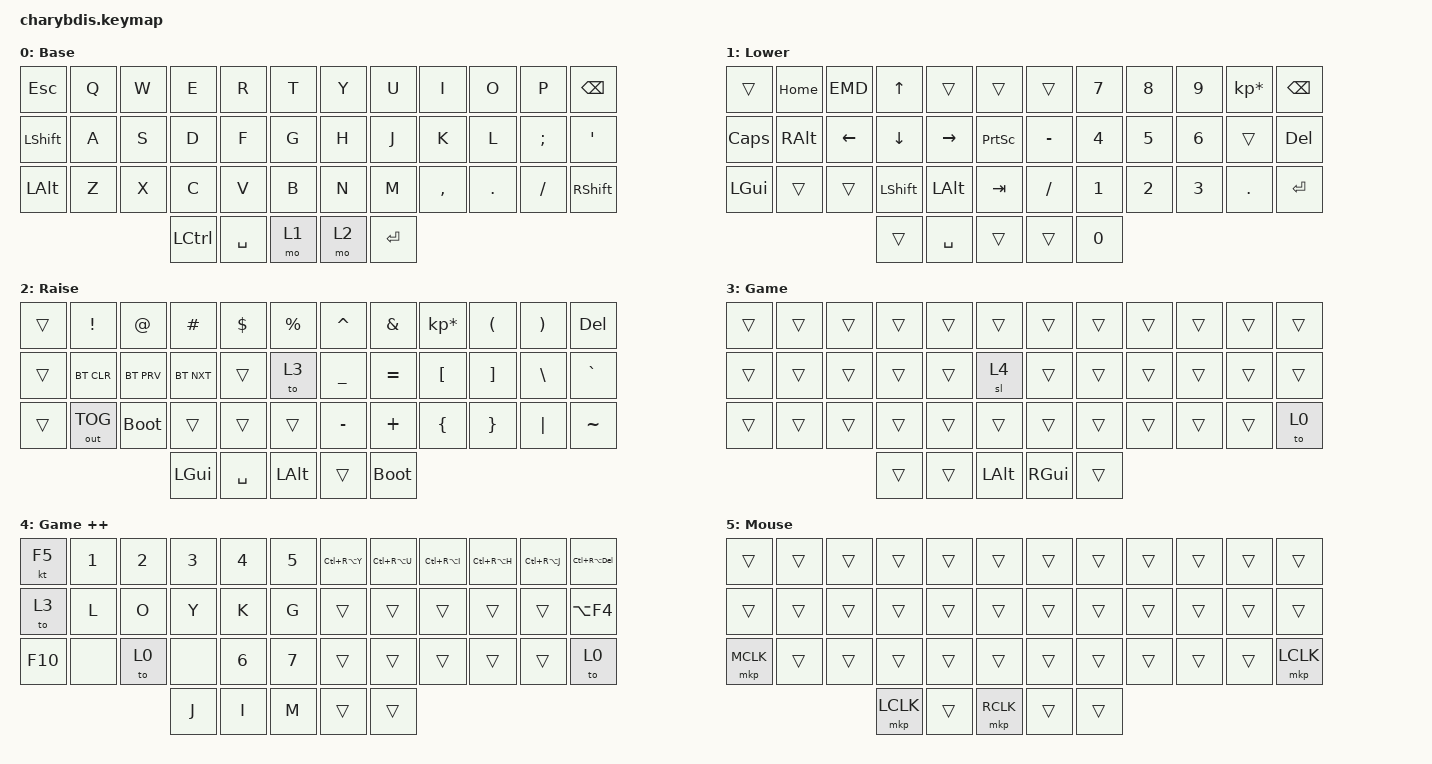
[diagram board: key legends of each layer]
#include <behaviors.dtsi>
#include <dt-bindings/zmk/mouse.h>
#include <dt-bindings/zmk/keys.h>
#include <dt-bindings/zmk/bt.h>
#include <dt-bindings/zmk/outputs.h>
#include <dt-bindings/zmk/keys.h>
#include <behaviors/mouse_keys.dtsi>

&lt {
    tapping-term-ms = <240>;
    flavor = "balanced";
    quick-tap-ms = <150>;
};

/ {
    keymap {
        compatible = "zmk,keymap";

        Base {
            label = "Base";
            bindings = <
  &kp ESC  &kp Q  &kp W      &kp E      &kp R  &kp T    &kp Y    &kp U      &kp I    &kp O     &kp P    &kp BSPC
  &kp LSHFT  &kp A  &kp S      &kp D      &kp F  &kp G    &kp H    &kp J      &kp K    &kp L  &kp SEMI    &kp APOS
&kp LEFT_ALT  &kp Z  &kp X      &kp C      &kp V  &kp B    &kp N    &kp M  &kp COMMA  &kp DOT  &kp FSLH  &kp RSHIFT
                         &kp LCTRL  &kp SPACE  &mo 1    &mo 2  &kp RET
            >;
        };

        Lower {
            label = "Lower";
            bindings = <
      &trans    &kp HOME    &kp EMD     &kp UP     &trans    &trans       &trans   &kp N7  &kp N8   &kp N9  &kp KP_MULTIPLY   &kp BSPC
      &kp CAPSLOCK  &kp RIGHT_ALT  &kp LEFT  &kp DOWN     &kp RIGHT    &kp PRINTSCREEN       &kp MINUS   &kp N4  &kp N5    &kp N6    &trans  &kp DELETE
&kp LGUI    &trans    &trans     &kp LSHFT  &kp LEFT_ALT  &kp TAB       &kp SLASH   &kp N1  &kp N2  &kp N3    &kp DOT  &kp RET
                                   &trans  &kp SPACE    &trans    &trans  &kp N0
            >;
        };

        Raise {
            label = "Raise";
            bindings = <
&trans      &kp EXCL       &kp AT    &kp HASH   &kp DLLR     &kp PRCNT    &kp CARET   &kp AMPS  &kp KP_MULTIPLY  &kp LPAR  &kp RPAR    &kp DEL
&trans    &bt BT_CLR   &bt BT_PRV  &bt BT_NXT     &trans         &to 3    &kp UNDER  &kp EQUAL         &kp LBKT  &kp RBKT  &kp BSLH  &kp GRAVE
&trans  &out OUT_TOG  &bootloader      &trans     &trans        &trans    &kp MINUS   &kp PLUS         &kp LBRC  &kp RBRC  &kp PIPE  &kp TILDE
                                     &kp LGUI  &kp SPACE  &kp LEFT_ALT       &trans    &bootloader
            >;
        };

        Game {
            label = "Game";
            bindings = <
&trans  &trans  &trans  &trans  &trans        &trans      &trans  &trans  &trans  &trans  &trans  &trans
&trans  &trans  &trans  &trans  &trans         &sl 4      &trans  &trans  &trans  &trans  &trans  &trans
&trans  &trans  &trans  &trans  &trans        &trans      &trans  &trans  &trans  &trans  &trans   &to 0
                        &trans  &trans  &kp LEFT_ALT    &kp RGUI  &trans
            >;
        };

        Game_++ {
            label = "Game ++";
            bindings = <
 &kt F5  &kp NUMBER_1  &kp NUMBER_2  &kp NUMBER_3  &kp NUMBER_4  &kp NUMBER_5    &kp LC(RA(Y))  &kp LC(RA(U))  &kp LC(RA(I))  &kp LC(RA(H))  &kp LC(RA(J))  &kp LC(RA(DEL))
  &to 3         &kp L         &kp O         &kp Y         &kp K         &kp G           &trans         &trans         &trans         &trans         &trans       &kp LA(F4)
&kp F10         &none         &to 0         &none  &kp NUMBER_6  &kp NUMBER_7           &trans         &trans         &trans         &trans         &trans            &to 0
                                            &kp J         &kp I         &kp M           &trans         &trans
            >;
        };

        Mouse {
            bindings = <
   &trans  &trans  &trans     &trans  &trans     &trans    &trans  &trans  &trans  &trans  &trans     &trans
   &trans  &trans  &trans     &trans  &trans     &trans    &trans  &trans  &trans  &trans  &trans     &trans
&mkp MCLK  &trans  &trans     &trans  &trans     &trans    &trans  &trans  &trans  &trans  &trans  &mkp LCLK
                           &mkp LCLK  &trans  &mkp RCLK    &trans  &trans
            >;
        };
    };
};
